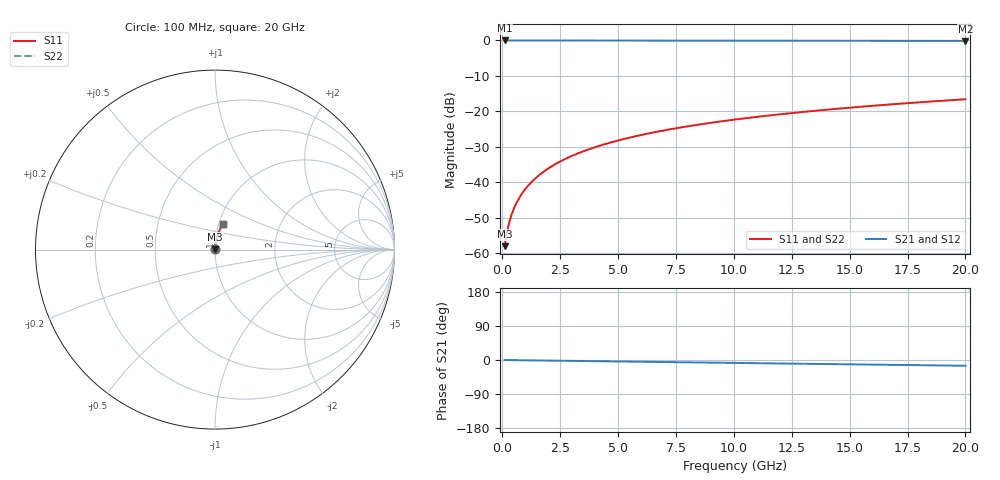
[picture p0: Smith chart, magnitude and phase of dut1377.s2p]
! Touchstone file exported from HFSS 2026.1.0
!  File:  C:/ffzhzh/LocalFiles/Ansys_Project_Files/temp_train_BSMRDL_1377_1783179469_55132.aedt
!  Generated:  11:39:03 PM Jul  4, 2026
!  Design:  BSMRDL
!  Project:  temp_train_BSMRDL_1377_1783179469_55132
! Variables:
!  h_bsmrdl = 3.5um
!  h_ox = 20um
!  h_rdl = 5um
!  h_sub = 80um
!  h_tmrdl = 5um
!  h_tsv = 80um
!  h_via = 3um
!  l_bsmrdl = 181.27um
!  l_sub = 581.27um
!  l_tmrdl = 200um
!  m_sub = 200um
!  pitch = 55.11um
!  r_tsv = 6um
!  s_tmrdl = 10um
!  w_bsmrdl = 28.6um
!  w_sub = 500um
!  w_tmrdl = 12um
!  x_tsv_center1 = 206um
!  x_tsv_center2 = 415.87um
!  x_tsv_center3 = 627.87um
!  x_tsv_center4 = 837.74um
!  x_tsv_center5 = 1049.74um
!  x_tsv_center6 = 1259.61um
# GHz S MA R 50.000000
! Terminal data exported
! Port[1] = BSM_RDL1_1_T1
! Port[2] = BSM_RDL1_1_T2
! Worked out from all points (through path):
!   200 points, 100 MHz to 20 GHz, reference 50 ohm
!   highest |S21| = -0.01 dB at 100 MHz (marker M1); lowest = -0.1 dB at 20 GHz (marker M2)
!   group delay of S21, straight-line fit = 2.11 ps
!   lowest |S11| = -58.1 dB at 100 MHz (marker M3), VSWR 1.00, Z = 50.1 + j0.0861 ohm
!   |S11| at or under -10 dB: start of sweep to end of sweep
!   |S22| runs from -58.1 to -16.6 dB; largest |S21 - S12| = 2.3e-15
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0.1  0.001245 43.7  0.9991 -0.1  0.9991 -0.1  0.001245 43.7
! Gamma 0 0 0 0
! Port Impedance 50 0 50 0
0.2  0.001942 61.0  0.999 -0.2  0.999 -0.2  0.001942 61.0
0.3  0.0027 68.5  0.999 -0.2  0.999 -0.2  0.0027 68.5
0.4  0.003462 72.5  0.9989 -0.3  0.9989 -0.3  0.003463 72.5
0.5  0.004222 75.1  0.9989 -0.4  0.9989 -0.4  0.004223 75.1
0.6  0.00498 76.9  0.9989 -0.5  0.9989 -0.5  0.004981 76.9
0.8  0.006497 79.4  0.9988 -0.6  0.9988 -0.6  0.006497 79.3
1.1  0.008783 81.4  0.9988 -0.9  0.9988 -0.9  0.008783 81.4
1.5  0.01185 82.9  0.9987 -1.2  0.9987 -1.2  0.01185 82.9
1.8  0.01416 83.5  0.9986 -1.4  0.9986 -1.4  0.01416 83.5
2.1  0.01647 83.8  0.9986 -1.6  0.9986 -1.6  0.01647 83.8
2.7  0.02109 84.1  0.9984 -2.1  0.9984 -2.1  0.02109 84.1
3.5  0.02723 84.1  0.9981 -2.7  0.9981 -2.7  0.02723 84.1
4.2  0.03259 83.9  0.9978 -3.3  0.9978 -3.3  0.03259 83.9
5  0.03868 83.5  0.9975 -3.9  0.9975 -3.9  0.03868 83.5
5.9  0.0455 82.9  0.997 -4.6  0.997 -4.6  0.0455 83.0
6.8  0.05227 82.4  0.9965 -5.3  0.9965 -5.3  0.05227 82.4
8.3  0.06347 81.4  0.9955 -6.4  0.9955 -6.4  0.06347 81.4
10.1  0.07678 80.2  0.9943 -7.8  0.9943 -7.8  0.07678 80.2
13.4  0.1008 77.9  0.9917 -10.3  0.9917 -10.3  0.1008 77.9
16.7  0.1245 75.6  0.9886 -12.7  0.9886 -12.7  0.1245 75.6
20  0.1477 73.3  0.985 -15.2  0.985 -15.2  0.1477 73.3
